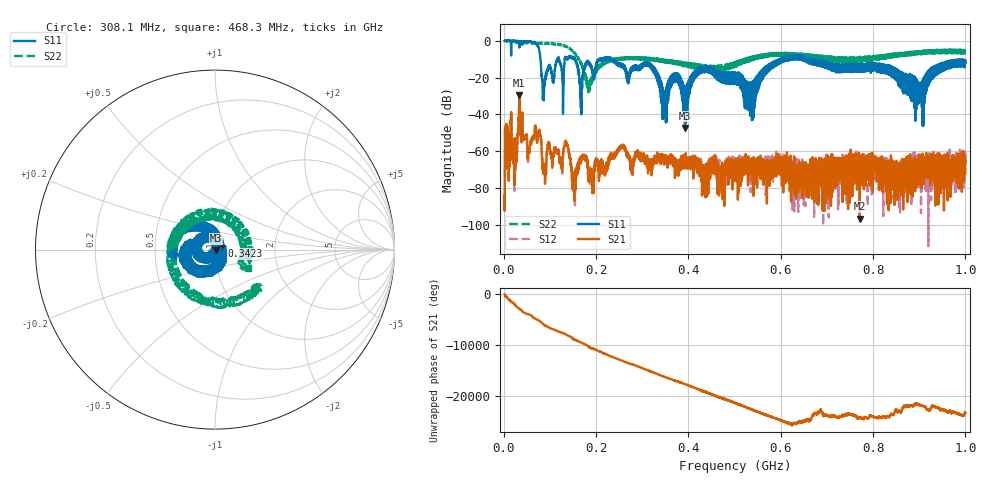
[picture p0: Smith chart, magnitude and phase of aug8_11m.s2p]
!Keysight Technologies N9923A: A.12.45
!Date: Friday, 08 August 2025 17:34:29
!Timezone: (UTC+08:00) Kuala Lumpur, Singapore
!Model: N9923A
!Serial: MY61181427
!GPS Latitude:
!GPS Longitude:
!GPS TimeStamp: 0001-01-01 00:00:00Z
!GPS Seconds Since Last Read: 0
!CHECKSUM:1634886228
!Correction: S11(ON U)S21(ON U)S12(ON U)S22(ON U)
!S2P File: Measurements:S11,S21,S12,S22:
# Hz S DB R 50
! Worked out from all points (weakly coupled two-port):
!   4001 points, 2 MHz to 1 GHz, reference 50 ohm
!   highest |S21| = -29.62 dB at 33.94 MHz (marker M1); lowest = -96.3 dB at 771.2 MHz (marker M2)
!   lowest |S11| = -47.3 dB at 392.7 MHz (marker M3), VSWR 1.01, Z = 50.3 - j0.294 ohm
!   |S11| at or under -10 dB: 155 MHz to 206 MHz (50.97 MHz wide, 28.2 % of centre); 234.5 MHz to 599.4 MHz (364.9 MHz wide, 87.5 % of centre); 665.5 MHz to end of sweep (the widest 3 of 67)
!   |S22| runs from -27.9 to 0.0 dB; largest |S21 - S12| = 0.0015
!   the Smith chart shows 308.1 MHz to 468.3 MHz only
!   S11 on the Smith chart (normalised r, x): 308.1 MHz: 0.62, -0.03; 342.3 MHz: 1.08, +0.04; 468.3 MHz: 0.82, +0.08
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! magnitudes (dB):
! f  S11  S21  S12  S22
! 2 MHz  -0.1  -84.0  -89.7  0.0
! 33.94 MHz  -3.8  -29.6  -29.6  -1.4
! 55.39 MHz  -0.5  -59.6  -60.4  -1.0
! 72.11 MHz  -2.3  -54.9  -55.1  -1.0
! 87.83 MHz  -22.6  -69.7  -69.1  -1.7
! 134.7 MHz  -9.4  -55.0  -54.3  -3.1
! 145.2 MHz  -8.5  -66.6  -66.5  -5.0
! 168.4 MHz  -35.8  -65.0  -62.7  -13.0
! 180.6 MHz  -11.0  -65.6  -64.4  -24.2
! 308.1 MHz  -12.5  -63.5  -63.8  -10.2
! 334.8 MHz  -19.4  -63.2  -63.1  -11.3
! 342.3 MHz  -27.1  -62.6  -63.7  -10.0
! 373.8 MHz  -17.7  -71.6  -68.6  -12.4
! 392.7 MHz  -47.3  -63.5  -63.8  -11.9
! 468.3 MHz  -19.4  -71.9  -79.0  -13.6
! 501 MHz  -17.2  -68.5  -68.9  -14.2
! 535.2 MHz  -22.6  -71.2  -82.1  -9.8
! 667.4 MHz  -10.5  -77.8  -73.3  -8.3
! 771.2 MHz  -16.2  -96.3  -67.8  -10.4
! 833.8 MHz  -17.7  -91.8  -83.3  -8.2
! 904.4 MHz  -24.4  -77.9  -67.5  -7.3
! 1 GHz  -12.0  -71.6  -65.8  -6.1
